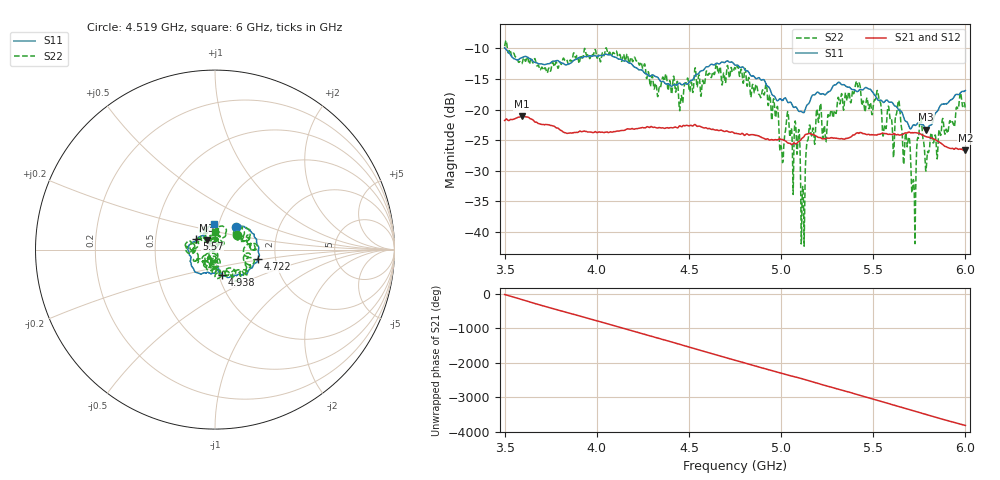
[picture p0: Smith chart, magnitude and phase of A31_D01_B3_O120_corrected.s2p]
! Created with skrf 1.9.0 (http://scikit-rf.org).
# Hz S RI R 50.0
!freq ReS11 ImS11 ReS21 ImS21 ReS12 ImS12 ReS22 ImS22
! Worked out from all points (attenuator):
!   1601 points, 3.5 GHz to 6 GHz, reference 50 ohm
!   highest |S21| = -21.11 dB at 3.592 GHz (marker M1); lowest = -26.6 dB at 6 GHz (marker M2)
!   lowest |S11| = -23.3 dB at 5.787 GHz (marker M3), VSWR 1.15, Z = 45.5 + j4.72 ohm
!   |S11| at or under -10 dB: 3.503 GHz to end of sweep
!   |S22| runs from -42.3 to -8.7 dB; largest |S21 - S12| = 0.0012
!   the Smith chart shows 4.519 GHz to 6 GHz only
!   S11 on the Smith chart (normalised r, x): 4.519 GHz: 1.22, +0.32; 4.722 GHz: 1.61, -0.18; 4.938 GHz: 1.04, -0.31; 5.57 GHz: 0.81, +0.10; 6 GHz: 0.95, +0.28
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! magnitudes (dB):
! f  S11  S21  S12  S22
! 3.5 GHz  -9.9  -21.8  -21.8  -9.7
! 3.592 GHz  -11.5  -21.1  -21.1  -12.5
! 3.917 GHz  -11.5  -23.6  -23.6  -11.2
! 4.334 GHz  -14.9  -23.0  -22.9  -17.3
! 4.519 GHz  -15.2  -22.7  -22.6  -16.8
! 4.722 GHz  -12.3  -23.7  -23.7  -14.7
! 4.75 GHz  -12.7  -23.9  -23.8  -13.1
! 4.938 GHz  -16.5  -25.0  -25.0  -17.6
! 5.003 GHz  -18.5  -24.9  -24.9  -26.7
! 5.031 GHz  -18.5  -25.3  -25.3  -21.2
! 5.088 GHz  -19.9  -25.5  -25.5  -27.2
! 5.119 GHz  -20.5  -24.6  -24.5  -32.8
! 5.145 GHz  -19.1  -24.0  -24.0  -25.0
! 5.167 GHz  -17.8  -24.0  -24.0  -24.2
! 5.416 GHz  -17.1  -23.8  -23.9  -16.2
! 5.57 GHz  -18.5  -23.9  -23.9  -23.0
! 5.584 GHz  -18.8  -24.0  -24.0  -19.6
! 5.641 GHz  -20.1  -24.2  -24.1  -18.8
! 5.719 GHz  -22.5  -23.8  -23.8  -31.5
! 5.752 GHz  -22.2  -23.9  -23.9  -22.3
! 5.787 GHz  -23.3  -24.4  -24.4  -29.6
! 6 GHz  -16.9  -26.6  -26.6  -20.1
